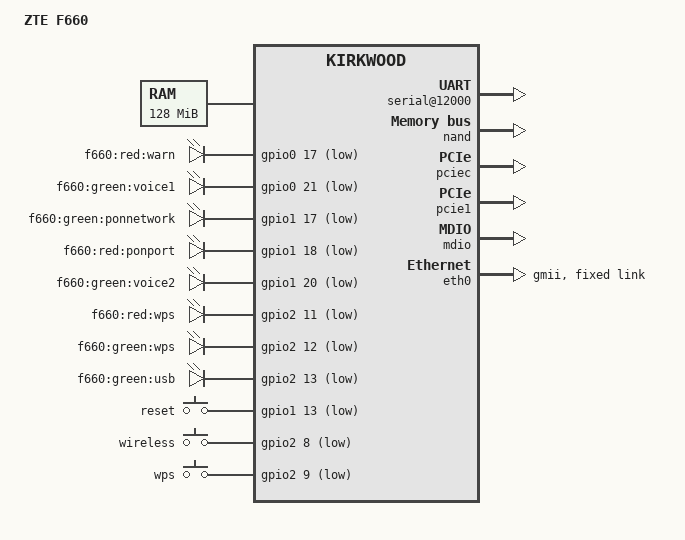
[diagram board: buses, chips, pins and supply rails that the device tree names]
/*
 * Device Tree file for zte f660
 * 
 *   (c) 2021 winnt5 <jiconglu58@gmail.com>
 *
 * based on
 *
 * Copyright (c) 2021 bodhi <mibodhi@gmail.com>
 *
 * based on 
 *  (c) 2015 Claudio Leite <leitec@staticky.com>
 *
 * based on kirkwood-ea4500.dts,
 *   (c) 2013 Jonas Gorski <jogo@openwrt.org>
 *   (c) 2013 Deutsche Telekom Innovation Laboratories
 *   (c) 2014 Luka Perkov <luka@openwrt.org>
 *
 * This file is licensed under the terms of the GNU General Public
 * License version 2.  This program is licensed "as is" without any
 * warranty of any kind, whether express or implied.
 */

/dts-v1/;

#include "avanta.dtsi"
#include "avanta-6560.dtsi"

/ {
	model = "ZTE F660";
	compatible = "zte,f660", "marvell,kirkwood-88f6282", "marvell,kirkwood";

	memory {
		device_type = "memory";
		reg = <0x00000000 0x8000000>;
	};

	chosen {
		bootargs = "console=ttyS0,115200n8 earlyprintk";
	};

	ocp@f1000000 {
		rtc@10300 {
			status = "disabled";
		};

		serial@12000 {
			status = "okay";
		};
	};

	gpio-leds {
		compatible = "gpio-leds";

		red-warn {
			label = "f660:red:warn";
			gpios = <&gpio0 17 GPIO_ACTIVE_LOW>;
		};

		green-voice1 {
			label = "f660:green:voice1";
			gpios = <&gpio0 21 GPIO_ACTIVE_LOW>;
		};

		green-ponnetwork {
			label = "f660:green:ponnetwork";
			gpios = <&gpio1 17 GPIO_ACTIVE_LOW>;
		};

		red-ponport {
			label = "f660:red:ponport";
			gpios = <&gpio1 18 GPIO_ACTIVE_LOW>;
		};

		green-voice2 {
			label = "f660:green:voice2";
			gpios = <&gpio1 20 GPIO_ACTIVE_LOW>;
		};

		red-wps {
			label = "f660:red:wps";
			gpios = <&gpio2 11 GPIO_ACTIVE_LOW>;
		};

		green-wps {
			label = "f660:green:wps";
			gpios = <&gpio2 12 GPIO_ACTIVE_LOW>;
		};

		green-usb {
			label = "f660:green:usb";
			gpios = <&gpio2 13 GPIO_ACTIVE_LOW>;
		};
	};

	gpio_keys {
		compatible = "gpio-keys";

		button@13 {
			label = "reset";
			linux,code = <KEY_RESTART>;
			gpios = <&gpio1 13 GPIO_ACTIVE_LOW>;
		};

		button@8 {
			label = "wireless";
			linux,code = <KEY_WLAN>;
			gpios = <&gpio2 8 GPIO_ACTIVE_LOW>;
		};

		button@9 {
			label = "wps";
			linux,code = <KEY_WPS_BUTTON>;
			gpios = <&gpio2 9 GPIO_ACTIVE_LOW>;
		};
	};

	mvsw6171 {
		compatible = "marvell,88e6171";
		status = "okay";
		reg = <0x8>;

		mii-bus = <&mdio>;
		cpu-port-0 = <4>;
		cpu-port-1 = <5>;
		is-indirect;
	};
};

&nand {
	status = "okay";

	partition@0 {
		label = "u-boot";
		reg = <0 0x100000>;
	};

	partition@100000 {
		label = "kernel";
		reg = <0x100000 0x300000>;
	};

	partition@400000 {
		label = "ubi";
		reg = <0x400000 0x1c00000>;
	};
};

&pciec {
	status = "okay";
};

&pcie1 {
	status = "okay";
};

&mdio {
	status = "okay";
/*
	switch@8 {
		compatible = "marvell,mv88e6085";
		#address-cells = <1>;
		#size-cells = <0>;
		reg = <8>;

		ports {
			#address-cells = <1>;
			#size-cells = <0>;

			port@0 {
				reg = <0>;
				label = "lan1";
			};

			port@1 {
				reg = <1>;
				label = "lan2";
			};

			port@2 {
				reg = <2>;
				label = "lan3";
			};

			port@3 {
				reg = <3>;
				label = "lan4";
			};

			port@4 {
				reg = <4>;
				label = "cpu";
				ethernet = <&eth0>;
				fixed-link {
					speed = <1000>;
					full-duplex;
				};
			};
		};
	};
*/
};

/* eth0	 is connected to a Marvell 88F6560 internal switch, without a PHY. So set
 * fixed speed and duplex.
 */
&eth0 {
	status = "okay";
	phy-mode = "gmii";
	fixed-link {
		speed = <1000>;
		full-duplex;
	};
};
